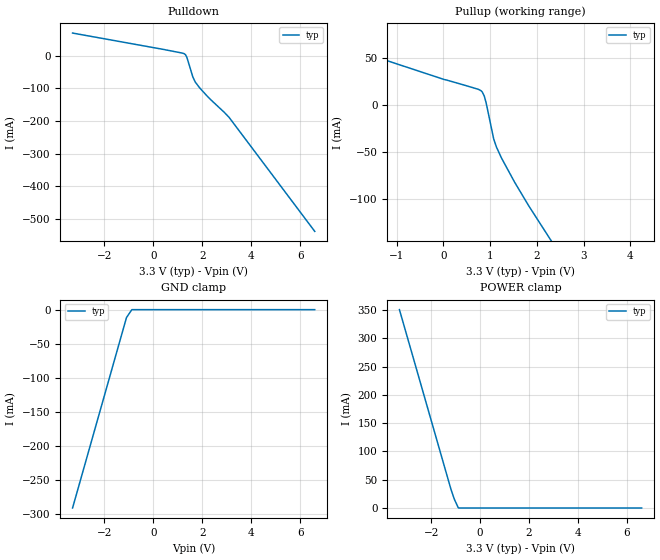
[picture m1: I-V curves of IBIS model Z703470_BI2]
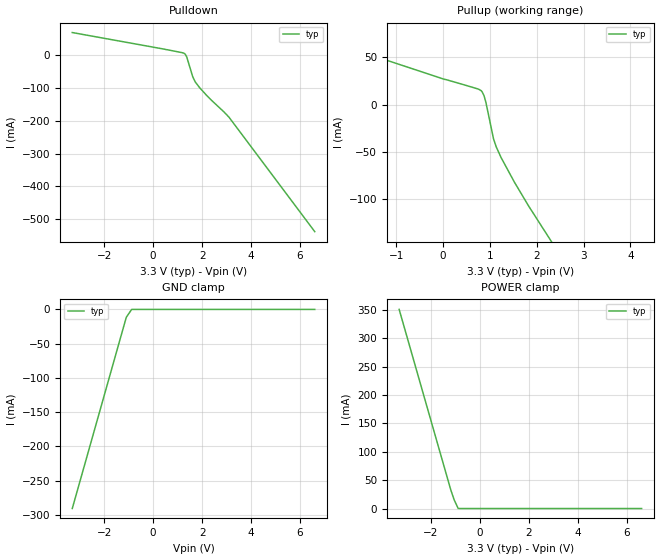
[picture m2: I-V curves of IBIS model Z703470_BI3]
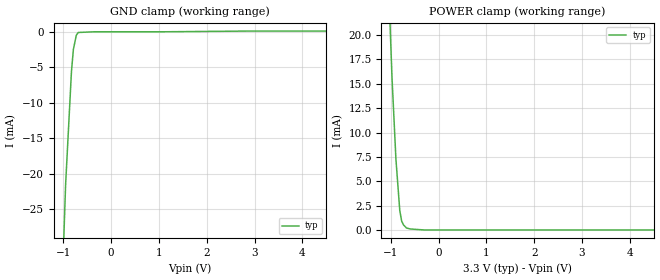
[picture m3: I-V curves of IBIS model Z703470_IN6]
| YOU ARE ONLY AUTHORIZED TO USE THIS SOFTWARE
| ACCORDING TO LICENSOR'S LICENSE RESTRICTIONS.
[IBIS Ver] 3.1
[File Name] mc100ep140d_33v.ibs
[File Rev] 2.0
[Source] Measured and created by ICX Technology
[Date] Friday 5/18/01 4:15:49 PM
[Copyright]
| (C) COPYRIGHT 1993-2001
| MENTOR GRAPHICS CORPORATION
| ICX STANDARD LIBRARY, ICX PROJECT MODELING,
| ICX CUSTOM MODELING, ICX VENDOR MODEL
| ALL RIGHTS RESERVED.
| THE FOLLOWING ARE TRADEMARKS OR SERVICE MARKS OF
| MENTOR GRAPHICS CORPORATION:ICX (R), ICX STANDARD
| LIBRARY(R), ICX PROJECT MODELING(R), ICX CUSTOM
| MODELING(R), qualityIBIS(TM), MODELVIEWER(TM),
| AND MODELEDITOR(TM)
| ALL COPIES OF SOFTWARE, INCLUDING BUT NOT LIMITED TO
| ANY MODIFICATIONS, ENHANCEMENTS OR DERIVATIVE WORKS,
| MUST CONTAIN ALL MENTOR GRAPHICS CORPORATION'S
| NOTICES AND LEGENDS, INCLUDING THOSE EMBEDDED IN
| SOFTWARE AND THOSE AFFIXED TO SOFTWARE MEDIUM
| AND CONTAINER, AS RECEIVED FROM MENTOR GRAPHICS
| CORPORATION.
|  ZAP Model Builder 3.0 2/7/2001
[Component] MC100EP140D_33v
[Manufacturer] OnSemico
[Package]
| variable   typ   min   max
R_pkg  .152ohms NA NA
L_pkg  2.714nH NA NA
C_pkg  .364pF NA NA
[Pin] signal_name  model_name  R_pin  L_pin C_pin
1 _U Z703470_BI3 .154 2.924n .374p
2 U Z703470_BI2 .15 2.504n .354p
3 _D Z703470_BI3 .15 2.504n .354p
4 D Z703470_BI2 .154 2.924n .374p
5 VEE GND .154 2.924n .374p
6 FB Z703470_IN6 .15 2.504n .354p
7 R Z703470_IN7 .15 2.504n .354p
8 VCC POWER .154 2.924n .374p
[Diff Pin] inv_pin vdiff tdelay_typ tdelay_min tdelay_max
2 1 NA NA NA NA
4 3 NA NA NA NA
| Models and submodels in the file (4): Z703470_BI2 (I/O_ECL), Z703470_BI3 (I/O_ECL), Z703470_IN6 (Input_ECL), Z703470_IN7 (Input_ECL)
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| (C) COPYRIGHT 1993-2001
| MENTOR GRAPHICS CORPORATION
| ICX STANDARD LIBRARY, ICX PROJECT MODELING,
| ICX CUSTOM MODELING, ICX VENDOR MODEL
| ALL RIGHTS RESERVED.
| THE FOLLOWING ARE TRADEMARKS OR SERVICE MARKS OF
| MENTOR GRAPHICS CORPORATION:ICX (R), ICX STANDARD
| LIBRARY(R), ICX PROJECT MODELING(R), ICX CUSTOM
| MODELING(R), qualityIBIS(TM), MODELVIEWER(TM),
| AND MODELEDITOR(TM)
| ALL COPIES OF SOFTWARE, INCLUDING BUT NOT LIMITED TO
| ANY MODIFICATIONS, ENHANCEMENTS OR DERIVATIVE WORKS,
| MUST CONTAIN ALL MENTOR GRAPHICS CORPORATION'S
| NOTICES AND LEGENDS, INCLUDING THOSE EMBEDDED IN
| SOFTWARE AND THOSE AFFIXED TO SOFTWARE MEDIUM
| AND CONTAINER, AS RECEIVED FROM MENTOR GRAPHICS
| CORPORATION.
| Model Application Version 1.89 2/18/99.
[Model] Z703470_BI2
Model_type I/O_ECL
Vinl=1.670V
Vinh=2.075V
Vref=1.300V
Rref=50.00ohms
Cref=0.000F
Vmeas=2.080V
C_comp 8.000pF NA NA
| variable typ   min   max
[Voltage Range] 3.300V NA NA
[POWER Clamp Reference] 3.300V NA NA
[Pullup Reference] 3.300V NA NA
[Pulldown Reference] 3.300V NA NA
[GND Clamp Reference] 0.000V NA NA
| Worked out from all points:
|   GND clamp passes 1 mA (typ) near -0.89 V on its own axis
|   POWER clamp passes 1 mA (typ) near -0.90 V on its own axis
[GND Clamp]
-3.3V     -290.9mA   NA         NA
-1.095V   -11.54mA   NA         NA
-876mV    0A         NA         NA
6.6V      0A         NA         NA
[Pulldown]
-3.3V     69.49mA    NA         NA
463mV     18.7mA     NA         NA
1.172V    8.3mA      NA         NA
1.314V    3.4mA      NA         NA
1.375V    -5.4mA     NA         NA
1.618V    -65.4mA    NA         NA
1.719V    -81mA      NA         NA
2.185V    -122.3mA   NA         NA
3.097V    -188.7mA   NA         NA
6.6V      -538.1mA   NA         NA
[Pullup]
-3.3V     81.34mA    NA         NA
21mV      26.9mA     NA         NA
751mV     16.5mA     NA         NA
812mV     14.8mA     NA         NA
873mV     9.5mA      NA         NA
913mV     2.4mA      NA         NA
1.076V    -36.3mA    NA         NA
1.136V    -45mA      NA         NA
1.237V    -56mA      NA         NA
1.521V    -82mA      NA         NA
1.825V    -107.3mA   NA         NA
6.6V      -476.3mA   NA         NA
[POWER Clamp]
-3.3V     350.8mA    NA         NA
-1.194V   33.08mA    NA         NA
-1.053V   15.19mA    NA         NA
-891mV    149.2uA    NA         NA
-822.5mV  0A         NA         NA
6.6V      0A         NA         NA
[Ramp]
| variable typ min max
dV/dt_r 121.1m/282.0p NA NA
dV/dt_f 121.1m/119.6p NA NA
R_load = 50.00Ohms
| (C) COPYRIGHT 1993-2001
| MENTOR GRAPHICS CORPORATION
| ICX STANDARD LIBRARY, ICX PROJECT MODELING,
| ICX CUSTOM MODELING, ICX VENDOR MODEL
| ALL RIGHTS RESERVED.
| THE FOLLOWING ARE TRADEMARKS OR SERVICE MARKS OF
| MENTOR GRAPHICS CORPORATION:ICX (R), ICX STANDARD
| LIBRARY(R), ICX PROJECT MODELING(R), ICX CUSTOM
| MODELING(R), qualityIBIS(TM), MODELVIEWER(TM),
| AND MODELEDITOR(TM)
| ALL COPIES OF SOFTWARE, INCLUDING BUT NOT LIMITED TO
| ANY MODIFICATIONS, ENHANCEMENTS OR DERIVATIVE WORKS,
| MUST CONTAIN ALL MENTOR GRAPHICS CORPORATION'S
| NOTICES AND LEGENDS, INCLUDING THOSE EMBEDDED IN
| SOFTWARE AND THOSE AFFIXED TO SOFTWARE MEDIUM
| AND CONTAINER, AS RECEIVED FROM MENTOR GRAPHICS
| CORPORATION.
| Model Application Version 1.89 2/18/99.
[Model] Z703470_BI3
Model_type I/O_ECL
Vinl=1.670V
Vinh=2.075V
Vref=1.300V
Rref=50.00ohms
Cref=0.000F
Vmeas=2.080V
C_comp 8.000pF NA NA
| variable typ   min   max
[Voltage Range] 3.300V NA NA
[POWER Clamp Reference] 3.300V NA NA
[Pullup Reference] 3.300V NA NA
[Pulldown Reference] 3.300V NA NA
[GND Clamp Reference] 0.000V NA NA
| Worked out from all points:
|   GND clamp passes 1 mA (typ) near -0.89 V on its own axis
|   POWER clamp passes 1 mA (typ) near -0.90 V on its own axis
[GND Clamp]
-3.3V     -290.9mA   NA         NA
-1.095V   -11.54mA   NA         NA
-876mV    0A         NA         NA
6.6V      0A         NA         NA
[Pulldown]
-3.3V     69.49mA    NA         NA
463mV     18.7mA     NA         NA
1.172V    8.3mA      NA         NA
1.314V    3.4mA      NA         NA
1.375V    -5.4mA     NA         NA
1.618V    -65.4mA    NA         NA
1.719V    -81mA      NA         NA
2.185V    -122.3mA   NA         NA
3.097V    -188.7mA   NA         NA
6.6V      -538.1mA   NA         NA
[Pullup]
-3.3V     81.34mA    NA         NA
21mV      26.9mA     NA         NA
751mV     16.5mA     NA         NA
812mV     14.8mA     NA         NA
873mV     9.5mA      NA         NA
913mV     2.4mA      NA         NA
1.076V    -36.3mA    NA         NA
1.136V    -45mA      NA         NA
1.237V    -56mA      NA         NA
1.521V    -82mA      NA         NA
1.825V    -107.3mA   NA         NA
6.6V      -476.3mA   NA         NA
[POWER Clamp]
-3.3V     350.8mA    NA         NA
-1.194V   33.08mA    NA         NA
-1.053V   15.19mA    NA         NA
-891mV    149.2uA    NA         NA
-822.5mV  0A         NA         NA
6.6V      0A         NA         NA
[Ramp]
| variable typ min max
dV/dt_r 121.1m/115.3p NA NA
dV/dt_f 121.1m/115.3p NA NA
R_load = 50.00Ohms
| (C) COPYRIGHT 1993-2001
| MENTOR GRAPHICS CORPORATION
| ICX STANDARD LIBRARY, ICX PROJECT MODELING,
| ICX CUSTOM MODELING, ICX VENDOR MODEL
| ALL RIGHTS RESERVED.
| THE FOLLOWING ARE TRADEMARKS OR SERVICE MARKS OF
| MENTOR GRAPHICS CORPORATION:ICX (R), ICX STANDARD
| LIBRARY(R), ICX PROJECT MODELING(R), ICX CUSTOM
| MODELING(R), qualityIBIS(TM), MODELVIEWER(TM),
| AND MODELEDITOR(TM)
| ALL COPIES OF SOFTWARE, INCLUDING BUT NOT LIMITED TO
| ANY MODIFICATIONS, ENHANCEMENTS OR DERIVATIVE WORKS,
| MUST CONTAIN ALL MENTOR GRAPHICS CORPORATION'S
| NOTICES AND LEGENDS, INCLUDING THOSE EMBEDDED IN
| SOFTWARE AND THOSE AFFIXED TO SOFTWARE MEDIUM
| AND CONTAINER, AS RECEIVED FROM MENTOR GRAPHICS
| CORPORATION.
| Model Application Version 1.89 2/18/99.
[Model] Z703470_IN6
Model_type Input_ECL
Vinl = 1.670V
Vinh = 2.075V
C_comp 4.000pF NA NA
| variable typ   min   max
[Voltage Range] 3.300V NA NA
[GND Clamp Reference] 0.000V NA NA
[POWER Clamp Reference] 3.300V NA NA
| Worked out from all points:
|   GND clamp passes 1 mA (typ) near -0.75 V on its own axis
|   POWER clamp passes 1 mA (typ) near -0.78 V on its own axis
[GND Clamp]
-3.3V     -591mA     NA         NA
-1.095V   -49.8mA    NA         NA
-953mV    -21.5mA    NA         NA
-831mV    -5.6mA     NA         NA
-791mV    -2.5mA     NA         NA
-730mV    -500uA     NA         NA
-689mV    -100uA     NA         NA
-344.5mV  0A         NA         NA
1.125V    0A         NA         NA
2.898V    100uA      NA         NA
6.6V      100uA      NA         NA
[POWER Clamp]
-3.3V     410mA      NA         NA
-1.443V   86mA       NA         NA
-1.159V   40.1mA     NA         NA
-977mV    15.7mA     NA         NA
-895mV    7.3mA      NA         NA
-814mV    2mA        NA         NA
-774mV    900uA      NA         NA
-733mV    500uA      NA         NA
-673mV    200uA      NA         NA
-592mV    100uA      NA         NA
-296mV    0A         NA         NA
6.6V      0A         NA         NA
